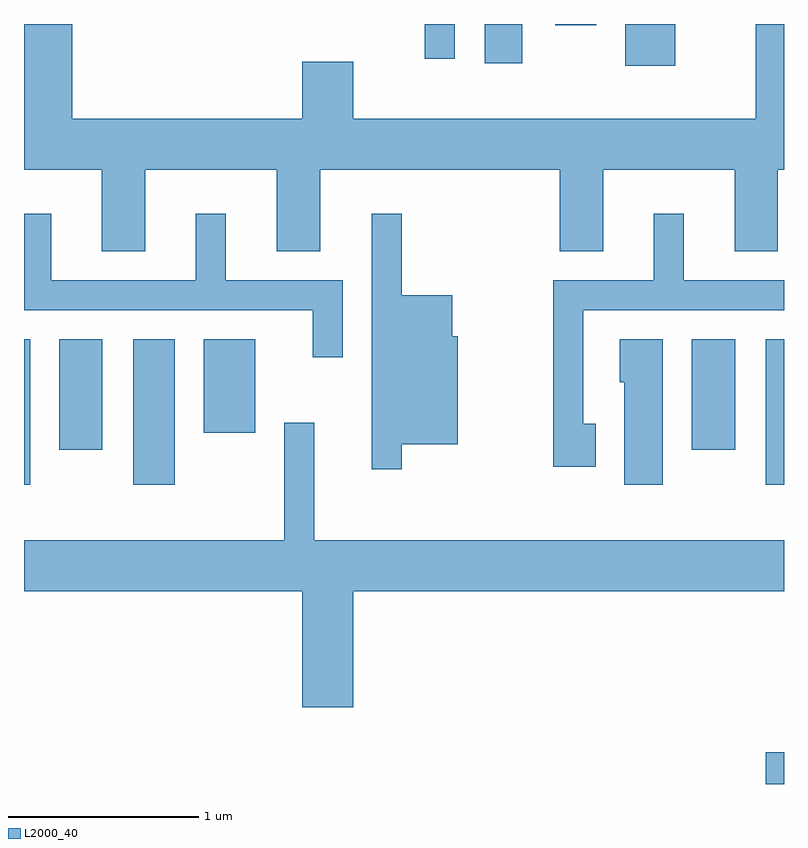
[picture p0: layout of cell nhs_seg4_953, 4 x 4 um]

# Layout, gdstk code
import gdstk
lib = gdstk.Library(unit=1e-6, precision=1e-09)
def R(c, l, rs):  # rectangles x0, y0, x1, y1
    for r in rs: c.add(gdstk.rectangle(r[:2], r[2:], *l))
def P(c, l, *ps):  # polygons
    for p in ps: c.add(gdstk.Polygon(p, *l))
L2000_40 = (2000, 40)

nhs_seg4_953 = lib.new_cell('nhs_seg4_953')
R(nhs_seg4_953, L2000_40, [(217.516,1255.982,217.611,1256.149), (213.611,1257.556,213.644,1258.324), (214.186,1257.556,214.404,1258.324), (217.516,1257.556,217.611,1258.324), (213.796,1257.741,214.024,1258.324), (217.126,1257.741,217.354,1258.324), (214.556,1257.831,214.829,1258.324), (216.776,1259.761,217.039,1259.982), (216.036,1259.776,216.234,1259.982), (215.721,1259.798,215.879,1259.982), (216.406,1259.976,216.624,1259.982)])
P(nhs_seg4_953, L2000_40, [(214.249,1259.216),(214.941,1259.216),(214.941,1258.786),(215.169,1258.786),(215.169,1259.216),(216.431,1259.216),(216.431,1258.786),(216.659,1258.786),(216.659,1259.216),(217.351,1259.216),(217.351,1258.786),(217.579,1258.786),(217.579,1259.216),(217.611,1259.216),(217.611,1259.982),(217.461,1259.982),(217.461,1259.484),(215.344,1259.484),(215.344,1259.784),(215.076,1259.784),(215.076,1259.484),(213.864,1259.484),(213.864,1259.982),(213.611,1259.982),(213.611,1259.216),(214.021,1259.216),(214.021,1258.786),(214.249,1258.786)],
  [(216.619,1257.879),(216.554,1257.879),(216.554,1258.476),(217.611,1258.476),(217.611,1258.634),(217.084,1258.634),(217.084,1258.983),(216.926,1258.983),(216.926,1258.634),(216.396,1258.634),(216.396,1257.651),(216.619,1257.651)],
  [(215.289,1258.634),(214.674,1258.634),(214.674,1258.983),(214.516,1258.983),(214.516,1258.634),(213.754,1258.634),(213.754,1258.983),(213.611,1258.983),(213.611,1258.476),(215.131,1258.476),(215.131,1258.228),(215.289,1258.228)],
  [(215.599,1257.771),(215.894,1257.771),(215.894,1258.339),(215.864,1258.339),(215.864,1258.554),(215.599,1258.554),(215.599,1258.983),(215.441,1258.983),(215.441,1257.638),(215.599,1257.638)],
  [(216.974,1258.324),(216.746,1258.324),(216.746,1258.096),(216.771,1258.096),(216.771,1257.556),(216.974,1257.556)],
  [(215.344,1256.996),(217.611,1256.996),(217.611,1257.264),(215.139,1257.264),(215.139,1257.883),(214.981,1257.883),(214.981,1257.264),(213.611,1257.264),(213.611,1256.996),(215.076,1256.996),(215.076,1256.386),(215.344,1256.386)])

lib.write_gds('nhs_seg4_953.gds')
